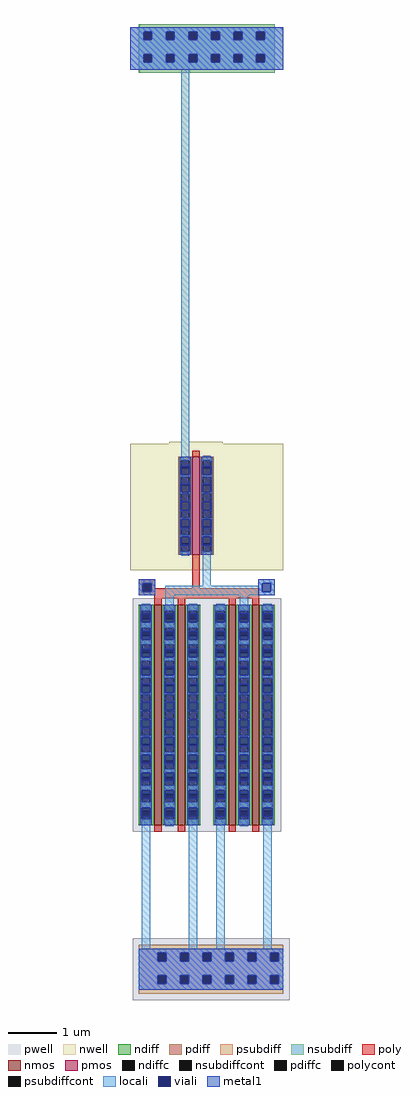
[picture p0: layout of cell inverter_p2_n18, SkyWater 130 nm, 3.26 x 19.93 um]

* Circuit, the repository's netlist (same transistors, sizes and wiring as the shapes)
* NGSPICE file created from inverter_p2_n18.ext - technology: sky130A

.subckt sky130_fd_pr__nfet_01v8_QQ9VTX a_63_n450# a_n63_n476# a_n33_n450# a_n125_n450#
+ VSUBS
X0 a_63_n450# a_n63_n476# a_n33_n450# VSUBS sky130_fd_pr__nfet_01v8 ad=1.395 pd=9.62 as=0.7425 ps=4.83 w=4.5 l=0.15
X1 a_n33_n450# a_n63_n476# a_n125_n450# VSUBS sky130_fd_pr__nfet_01v8 ad=0.7425 pd=4.83 as=1.395 ps=9.62 w=4.5 l=0.15
.ends

.subckt sky130_fd_pr__pfet_01v8_UCB5V5 a_15_n200# a_n15_n226# a_n73_n200# w_n109_n262#
X0 a_15_n200# a_n15_n226# a_n73_n200# w_n109_n262# sky130_fd_pr__pfet_01v8 ad=0.58 pd=4.58 as=0.58 ps=4.58 w=2 l=0.15
.ends

.subckt inverter_p2_n18 VDPWR Vout Vin VGND
Xsky130_fd_pr__nfet_01v8_QQ9VTX_0 VGND Vin Vout VGND VGND sky130_fd_pr__nfet_01v8_QQ9VTX
Xsky130_fd_pr__nfet_01v8_QQ9VTX_1 VGND Vin Vout VGND VGND sky130_fd_pr__nfet_01v8_QQ9VTX
Xsky130_fd_pr__pfet_01v8_UCB5V5_0 Vout Vin VDPWR VDPWR sky130_fd_pr__pfet_01v8_UCB5V5
.ends

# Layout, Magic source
magic
tech sky130A
magscale 1 2
<< nwell >>
rect 0 3346 554 3360
rect -36 3174 590 3346
rect 0 3160 554 3174
rect 172 1646 206 3160
rect -36 1130 590 1646
<< pwell >>
rect -26 -626 616 -374
<< psubdiff >>
rect 0 -433 590 -400
rect 0 -467 77 -433
rect 111 -467 169 -433
rect 203 -467 261 -433
rect 295 -467 353 -433
rect 387 -467 445 -433
rect 479 -467 537 -433
rect 571 -467 590 -433
rect 0 -525 590 -467
rect 0 -559 77 -525
rect 111 -559 169 -525
rect 203 -559 261 -525
rect 295 -559 353 -525
rect 387 -559 445 -525
rect 479 -559 537 -525
rect 571 -559 590 -525
rect 0 -600 590 -559
<< nsubdiff >>
rect 0 3329 554 3360
rect 0 3295 19 3329
rect 53 3295 111 3329
rect 145 3295 203 3329
rect 237 3295 295 3329
rect 329 3295 387 3329
rect 421 3295 479 3329
rect 513 3295 554 3329
rect 0 3237 554 3295
rect 0 3203 19 3237
rect 53 3203 111 3237
rect 145 3203 203 3237
rect 237 3203 295 3237
rect 329 3203 387 3237
rect 421 3203 479 3237
rect 513 3203 554 3237
rect 0 3160 554 3203
<< psubdiffcont >>
rect 77 -467 111 -433
rect 169 -467 203 -433
rect 261 -467 295 -433
rect 353 -467 387 -433
rect 445 -467 479 -433
rect 537 -467 571 -433
rect 77 -559 111 -525
rect 169 -559 203 -525
rect 261 -559 295 -525
rect 353 -559 387 -525
rect 445 -559 479 -525
rect 537 -559 571 -525
<< nsubdiffcont >>
rect 19 3295 53 3329
rect 111 3295 145 3329
rect 203 3295 237 3329
rect 295 3295 329 3329
rect 387 3295 421 3329
rect 479 3295 513 3329
rect 19 3203 53 3237
rect 111 3203 145 3237
rect 203 3203 237 3237
rect 295 3203 329 3237
rect 387 3203 421 3237
rect 479 3203 513 3237
<< poly >>
rect 0 1076 66 1092
rect 0 1042 16 1076
rect 50 1056 66 1076
rect 218 1056 248 1166
rect 50 1044 492 1056
rect 50 1042 66 1044
rect 0 1026 66 1042
rect 188 1014 366 1044
<< polycont >>
rect 16 1042 50 1076
<< locali >>
rect -36 3329 590 3346
rect -36 3295 19 3329
rect 53 3295 111 3329
rect 145 3295 203 3329
rect 237 3295 295 3329
rect 329 3295 387 3329
rect 421 3295 479 3329
rect 513 3295 590 3329
rect -36 3237 590 3295
rect -36 3203 19 3237
rect 53 3203 111 3237
rect 145 3203 203 3237
rect 237 3203 295 3237
rect 329 3203 387 3237
rect 421 3203 479 3237
rect 513 3203 590 3237
rect -36 3174 590 3203
rect 172 1596 206 3174
rect 0 1076 66 1092
rect 0 1042 16 1076
rect 50 1042 66 1076
rect 260 1066 294 1188
rect 488 1076 554 1092
rect 488 1066 504 1076
rect 0 1026 66 1042
rect 108 1042 504 1066
rect 538 1042 554 1076
rect 108 1026 554 1042
rect 108 992 142 1026
rect 412 992 446 1026
rect 12 -416 46 84
rect 204 -416 238 84
rect 316 -416 350 84
rect 508 -416 542 84
rect 0 -433 590 -416
rect 0 -467 77 -433
rect 111 -467 169 -433
rect 203 -467 261 -433
rect 295 -467 353 -433
rect 387 -467 445 -433
rect 479 -467 537 -433
rect 571 -467 590 -433
rect 0 -525 590 -467
rect 0 -559 77 -525
rect 111 -559 169 -525
rect 203 -559 261 -525
rect 295 -559 353 -525
rect 387 -559 445 -525
rect 479 -559 537 -525
rect 571 -559 590 -525
rect 0 -584 590 -559
<< viali >>
rect 19 3295 53 3329
rect 111 3295 145 3329
rect 203 3295 237 3329
rect 295 3295 329 3329
rect 387 3295 421 3329
rect 479 3295 513 3329
rect 19 3203 53 3237
rect 111 3203 145 3237
rect 203 3203 237 3237
rect 295 3203 329 3237
rect 387 3203 421 3237
rect 479 3203 513 3237
rect 16 1042 50 1076
rect 504 1042 538 1076
rect 77 -467 111 -433
rect 169 -467 203 -433
rect 261 -467 295 -433
rect 353 -467 387 -433
rect 445 -467 479 -433
rect 537 -467 571 -433
rect 77 -559 111 -525
rect 169 -559 203 -525
rect 261 -559 295 -525
rect 353 -559 387 -525
rect 445 -559 479 -525
rect 537 -559 571 -525
<< metal1 >>
rect -36 3329 590 3346
rect -36 3295 19 3329
rect 53 3295 111 3329
rect 145 3295 203 3329
rect 237 3295 295 3329
rect 329 3295 387 3329
rect 421 3295 479 3329
rect 513 3295 590 3329
rect -36 3237 590 3295
rect -36 3203 19 3237
rect 53 3203 111 3237
rect 145 3203 203 3237
rect 237 3203 295 3237
rect 329 3203 387 3237
rect 421 3203 479 3237
rect 513 3203 590 3237
rect -36 3174 590 3203
rect 0 1076 66 1092
rect 0 1042 16 1076
rect 50 1042 66 1076
rect 0 1026 66 1042
rect 488 1076 554 1092
rect 488 1042 504 1076
rect 538 1042 554 1076
rect 488 1026 554 1042
rect 0 -433 590 -416
rect 0 -467 77 -433
rect 111 -467 169 -433
rect 203 -467 261 -433
rect 295 -467 353 -433
rect 387 -467 445 -433
rect 479 -467 537 -433
rect 571 -467 590 -433
rect 0 -525 590 -467
rect 0 -559 77 -525
rect 111 -559 169 -525
rect 203 -559 261 -525
rect 295 -559 353 -525
rect 387 -559 445 -525
rect 479 -559 537 -525
rect 571 -559 590 -525
rect 0 -584 590 -559
use sky130_fd_pr__nfet_01v8_QQ9VTX  sky130_fd_pr__nfet_01v8_QQ9VTX_0
transform 1 0 125 0 1 538
box -151 -476 151 506
use sky130_fd_pr__nfet_01v8_QQ9VTX  sky130_fd_pr__nfet_01v8_QQ9VTX_1
transform 1 0 429 0 1 538
box -151 -476 151 506
use sky130_fd_pr__pfet_01v8_UCB5V5  sky130_fd_pr__pfet_01v8_UCB5V5_0
transform 1 0 233 0 1 1392
box -109 -262 109 262
<< end >>

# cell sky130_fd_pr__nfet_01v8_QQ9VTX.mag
magic
tech sky130A
magscale 1 2
<< pwell >>
rect -151 -476 151 476
<< nmos >>
rect -63 -450 -33 450
rect 33 -450 63 450
<< ndiff >>
rect -125 425 -63 450
rect -125 391 -113 425
rect -79 391 -63 425
rect -125 357 -63 391
rect -125 323 -113 357
rect -79 323 -63 357
rect -125 289 -63 323
rect -125 255 -113 289
rect -79 255 -63 289
rect -125 221 -63 255
rect -125 187 -113 221
rect -79 187 -63 221
rect -125 153 -63 187
rect -125 119 -113 153
rect -79 119 -63 153
rect -125 85 -63 119
rect -125 51 -113 85
rect -79 51 -63 85
rect -125 17 -63 51
rect -125 -17 -113 17
rect -79 -17 -63 17
rect -125 -51 -63 -17
rect -125 -85 -113 -51
rect -79 -85 -63 -51
rect -125 -119 -63 -85
rect -125 -153 -113 -119
rect -79 -153 -63 -119
rect -125 -187 -63 -153
rect -125 -221 -113 -187
rect -79 -221 -63 -187
rect -125 -255 -63 -221
rect -125 -289 -113 -255
rect -79 -289 -63 -255
rect -125 -323 -63 -289
rect -125 -357 -113 -323
rect -79 -357 -63 -323
rect -125 -391 -63 -357
rect -125 -425 -113 -391
rect -79 -425 -63 -391
rect -125 -450 -63 -425
rect -33 425 33 450
rect -33 391 -17 425
rect 17 391 33 425
rect -33 357 33 391
rect -33 323 -17 357
rect 17 323 33 357
rect -33 289 33 323
rect -33 255 -17 289
rect 17 255 33 289
rect -33 221 33 255
rect -33 187 -17 221
rect 17 187 33 221
rect -33 153 33 187
rect -33 119 -17 153
rect 17 119 33 153
rect -33 85 33 119
rect -33 51 -17 85
rect 17 51 33 85
rect -33 17 33 51
rect -33 -17 -17 17
rect 17 -17 33 17
rect -33 -51 33 -17
rect -33 -85 -17 -51
rect 17 -85 33 -51
rect -33 -119 33 -85
rect -33 -153 -17 -119
rect 17 -153 33 -119
rect -33 -187 33 -153
rect -33 -221 -17 -187
rect 17 -221 33 -187
rect -33 -255 33 -221
rect -33 -289 -17 -255
rect 17 -289 33 -255
rect -33 -323 33 -289
rect -33 -357 -17 -323
rect 17 -357 33 -323
rect -33 -391 33 -357
rect -33 -425 -17 -391
rect 17 -425 33 -391
rect -33 -450 33 -425
rect 63 425 125 450
rect 63 391 79 425
rect 113 391 125 425
rect 63 357 125 391
rect 63 323 79 357
rect 113 323 125 357
rect 63 289 125 323
rect 63 255 79 289
rect 113 255 125 289
rect 63 221 125 255
rect 63 187 79 221
rect 113 187 125 221
rect 63 153 125 187
rect 63 119 79 153
rect 113 119 125 153
rect 63 85 125 119
rect 63 51 79 85
rect 113 51 125 85
rect 63 17 125 51
rect 63 -17 79 17
rect 113 -17 125 17
rect 63 -51 125 -17
rect 63 -85 79 -51
rect 113 -85 125 -51
rect 63 -119 125 -85
rect 63 -153 79 -119
rect 113 -153 125 -119
rect 63 -187 125 -153
rect 63 -221 79 -187
rect 113 -221 125 -187
rect 63 -255 125 -221
rect 63 -289 79 -255
rect 113 -289 125 -255
rect 63 -323 125 -289
rect 63 -357 79 -323
rect 113 -357 125 -323
rect 63 -391 125 -357
rect 63 -425 79 -391
rect 113 -425 125 -391
rect 63 -450 125 -425
<< ndiffc >>
rect -113 391 -79 425
rect -113 323 -79 357
rect -113 255 -79 289
rect -113 187 -79 221
rect -113 119 -79 153
rect -113 51 -79 85
rect -113 -17 -79 17
rect -113 -85 -79 -51
rect -113 -153 -79 -119
rect -113 -221 -79 -187
rect -113 -289 -79 -255
rect -113 -357 -79 -323
rect -113 -425 -79 -391
rect -17 391 17 425
rect -17 323 17 357
rect -17 255 17 289
rect -17 187 17 221
rect -17 119 17 153
rect -17 51 17 85
rect -17 -17 17 17
rect -17 -85 17 -51
rect -17 -153 17 -119
rect -17 -221 17 -187
rect -17 -289 17 -255
rect -17 -357 17 -323
rect -17 -425 17 -391
rect 79 391 113 425
rect 79 323 113 357
rect 79 255 113 289
rect 79 187 113 221
rect 79 119 113 153
rect 79 51 113 85
rect 79 -17 113 17
rect 79 -85 113 -51
rect 79 -153 113 -119
rect 79 -221 113 -187
rect 79 -289 113 -255
rect 79 -357 113 -323
rect 79 -425 113 -391
<< poly >>
rect -63 476 63 506
rect -63 450 -33 476
rect 33 450 63 476
rect -63 -476 -33 -450
rect 33 -476 63 -450
<< locali >>
rect -113 425 -79 454
rect -113 357 -79 379
rect -113 289 -79 307
rect -113 221 -79 235
rect -113 153 -79 163
rect -113 85 -79 91
rect -113 17 -79 19
rect -113 -19 -79 -17
rect -113 -91 -79 -85
rect -113 -163 -79 -153
rect -113 -235 -79 -221
rect -113 -307 -79 -289
rect -113 -379 -79 -357
rect -113 -454 -79 -425
rect -17 425 17 454
rect -17 357 17 379
rect -17 289 17 307
rect -17 221 17 235
rect -17 153 17 163
rect -17 85 17 91
rect -17 17 17 19
rect -17 -19 17 -17
rect -17 -91 17 -85
rect -17 -163 17 -153
rect -17 -235 17 -221
rect -17 -307 17 -289
rect -17 -379 17 -357
rect -17 -454 17 -425
rect 79 425 113 454
rect 79 357 113 379
rect 79 289 113 307
rect 79 221 113 235
rect 79 153 113 163
rect 79 85 113 91
rect 79 17 113 19
rect 79 -19 113 -17
rect 79 -91 113 -85
rect 79 -163 113 -153
rect 79 -235 113 -221
rect 79 -307 113 -289
rect 79 -379 113 -357
rect 79 -454 113 -425
<< viali >>
rect -113 391 -79 413
rect -113 379 -79 391
rect -113 323 -79 341
rect -113 307 -79 323
rect -113 255 -79 269
rect -113 235 -79 255
rect -113 187 -79 197
rect -113 163 -79 187
rect -113 119 -79 125
rect -113 91 -79 119
rect -113 51 -79 53
rect -113 19 -79 51
rect -113 -51 -79 -19
rect -113 -53 -79 -51
rect -113 -119 -79 -91
rect -113 -125 -79 -119
rect -113 -187 -79 -163
rect -113 -197 -79 -187
rect -113 -255 -79 -235
rect -113 -269 -79 -255
rect -113 -323 -79 -307
rect -113 -341 -79 -323
rect -113 -391 -79 -379
rect -113 -413 -79 -391
rect -17 391 17 413
rect -17 379 17 391
rect -17 323 17 341
rect -17 307 17 323
rect -17 255 17 269
rect -17 235 17 255
rect -17 187 17 197
rect -17 163 17 187
rect -17 119 17 125
rect -17 91 17 119
rect -17 51 17 53
rect -17 19 17 51
rect -17 -51 17 -19
rect -17 -53 17 -51
rect -17 -119 17 -91
rect -17 -125 17 -119
rect -17 -187 17 -163
rect -17 -197 17 -187
rect -17 -255 17 -235
rect -17 -269 17 -255
rect -17 -323 17 -307
rect -17 -341 17 -323
rect -17 -391 17 -379
rect -17 -413 17 -391
rect 79 391 113 413
rect 79 379 113 391
rect 79 323 113 341
rect 79 307 113 323
rect 79 255 113 269
rect 79 235 113 255
rect 79 187 113 197
rect 79 163 113 187
rect 79 119 113 125
rect 79 91 113 119
rect 79 51 113 53
rect 79 19 113 51
rect 79 -51 113 -19
rect 79 -53 113 -51
rect 79 -119 113 -91
rect 79 -125 113 -119
rect 79 -187 113 -163
rect 79 -197 113 -187
rect 79 -255 113 -235
rect 79 -269 113 -255
rect 79 -323 113 -307
rect 79 -341 113 -323
rect 79 -391 113 -379
rect 79 -413 113 -391
<< metal1 >>
rect -119 413 -73 450
rect -119 379 -113 413
rect -79 379 -73 413
rect -119 341 -73 379
rect -119 307 -113 341
rect -79 307 -73 341
rect -119 269 -73 307
rect -119 235 -113 269
rect -79 235 -73 269
rect -119 197 -73 235
rect -119 163 -113 197
rect -79 163 -73 197
rect -119 125 -73 163
rect -119 91 -113 125
rect -79 91 -73 125
rect -119 53 -73 91
rect -119 19 -113 53
rect -79 19 -73 53
rect -119 -19 -73 19
rect -119 -53 -113 -19
rect -79 -53 -73 -19
rect -119 -91 -73 -53
rect -119 -125 -113 -91
rect -79 -125 -73 -91
rect -119 -163 -73 -125
rect -119 -197 -113 -163
rect -79 -197 -73 -163
rect -119 -235 -73 -197
rect -119 -269 -113 -235
rect -79 -269 -73 -235
rect -119 -307 -73 -269
rect -119 -341 -113 -307
rect -79 -341 -73 -307
rect -119 -379 -73 -341
rect -119 -413 -113 -379
rect -79 -413 -73 -379
rect -119 -450 -73 -413
rect -23 413 23 450
rect -23 379 -17 413
rect 17 379 23 413
rect -23 341 23 379
rect -23 307 -17 341
rect 17 307 23 341
rect -23 269 23 307
rect -23 235 -17 269
rect 17 235 23 269
rect -23 197 23 235
rect -23 163 -17 197
rect 17 163 23 197
rect -23 125 23 163
rect -23 91 -17 125
rect 17 91 23 125
rect -23 53 23 91
rect -23 19 -17 53
rect 17 19 23 53
rect -23 -19 23 19
rect -23 -53 -17 -19
rect 17 -53 23 -19
rect -23 -91 23 -53
rect -23 -125 -17 -91
rect 17 -125 23 -91
rect -23 -163 23 -125
rect -23 -197 -17 -163
rect 17 -197 23 -163
rect -23 -235 23 -197
rect -23 -269 -17 -235
rect 17 -269 23 -235
rect -23 -307 23 -269
rect -23 -341 -17 -307
rect 17 -341 23 -307
rect -23 -379 23 -341
rect -23 -413 -17 -379
rect 17 -413 23 -379
rect -23 -450 23 -413
rect 73 413 119 450
rect 73 379 79 413
rect 113 379 119 413
rect 73 341 119 379
rect 73 307 79 341
rect 113 307 119 341
rect 73 269 119 307
rect 73 235 79 269
rect 113 235 119 269
rect 73 197 119 235
rect 73 163 79 197
rect 113 163 119 197
rect 73 125 119 163
rect 73 91 79 125
rect 113 91 119 125
rect 73 53 119 91
rect 73 19 79 53
rect 113 19 119 53
rect 73 -19 119 19
rect 73 -53 79 -19
rect 113 -53 119 -19
rect 73 -91 119 -53
rect 73 -125 79 -91
rect 113 -125 119 -91
rect 73 -163 119 -125
rect 73 -197 79 -163
rect 113 -197 119 -163
rect 73 -235 119 -197
rect 73 -269 79 -235
rect 113 -269 119 -235
rect 73 -307 119 -269
rect 73 -341 79 -307
rect 113 -341 119 -307
rect 73 -379 119 -341
rect 73 -413 79 -379
rect 113 -413 119 -379
rect 73 -450 119 -413
<< end >>

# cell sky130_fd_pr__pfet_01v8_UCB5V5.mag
magic
tech sky130A
magscale 1 2
<< nwell >>
rect -109 -262 109 262
<< pmos >>
rect -15 -200 15 200
<< pdiff >>
rect -73 187 -15 200
rect -73 153 -61 187
rect -27 153 -15 187
rect -73 119 -15 153
rect -73 85 -61 119
rect -27 85 -15 119
rect -73 51 -15 85
rect -73 17 -61 51
rect -27 17 -15 51
rect -73 -17 -15 17
rect -73 -51 -61 -17
rect -27 -51 -15 -17
rect -73 -85 -15 -51
rect -73 -119 -61 -85
rect -27 -119 -15 -85
rect -73 -153 -15 -119
rect -73 -187 -61 -153
rect -27 -187 -15 -153
rect -73 -200 -15 -187
rect 15 187 73 200
rect 15 153 27 187
rect 61 153 73 187
rect 15 119 73 153
rect 15 85 27 119
rect 61 85 73 119
rect 15 51 73 85
rect 15 17 27 51
rect 61 17 73 51
rect 15 -17 73 17
rect 15 -51 27 -17
rect 61 -51 73 -17
rect 15 -85 73 -51
rect 15 -119 27 -85
rect 61 -119 73 -85
rect 15 -153 73 -119
rect 15 -187 27 -153
rect 61 -187 73 -153
rect 15 -200 73 -187
<< pdiffc >>
rect -61 153 -27 187
rect -61 85 -27 119
rect -61 17 -27 51
rect -61 -51 -27 -17
rect -61 -119 -27 -85
rect -61 -187 -27 -153
rect 27 153 61 187
rect 27 85 61 119
rect 27 17 61 51
rect 27 -51 61 -17
rect 27 -119 61 -85
rect 27 -187 61 -153
<< poly >>
rect -15 200 15 226
rect -15 -226 15 -200
<< locali >>
rect -61 187 -27 204
rect -61 119 -27 127
rect -61 51 -27 55
rect -61 -55 -27 -51
rect -61 -127 -27 -119
rect -61 -204 -27 -187
rect 27 187 61 204
rect 27 119 61 127
rect 27 51 61 55
rect 27 -55 61 -51
rect 27 -127 61 -119
rect 27 -204 61 -187
<< viali >>
rect -61 153 -27 161
rect -61 127 -27 153
rect -61 85 -27 89
rect -61 55 -27 85
rect -61 -17 -27 17
rect -61 -85 -27 -55
rect -61 -89 -27 -85
rect -61 -153 -27 -127
rect -61 -161 -27 -153
rect 27 153 61 161
rect 27 127 61 153
rect 27 85 61 89
rect 27 55 61 85
rect 27 -17 61 17
rect 27 -85 61 -55
rect 27 -89 61 -85
rect 27 -153 61 -127
rect 27 -161 61 -153
<< metal1 >>
rect -67 161 -21 200
rect -67 127 -61 161
rect -27 127 -21 161
rect -67 89 -21 127
rect -67 55 -61 89
rect -27 55 -21 89
rect -67 17 -21 55
rect -67 -17 -61 17
rect -27 -17 -21 17
rect -67 -55 -21 -17
rect -67 -89 -61 -55
rect -27 -89 -21 -55
rect -67 -127 -21 -89
rect -67 -161 -61 -127
rect -27 -161 -21 -127
rect -67 -200 -21 -161
rect 21 161 67 200
rect 21 127 27 161
rect 61 127 67 161
rect 21 89 67 127
rect 21 55 27 89
rect 61 55 67 89
rect 21 17 67 55
rect 21 -17 27 17
rect 61 -17 67 17
rect 21 -55 67 -17
rect 21 -89 27 -55
rect 61 -89 67 -55
rect 21 -127 67 -89
rect 21 -161 27 -127
rect 61 -161 67 -127
rect 21 -200 67 -161
<< end >>
